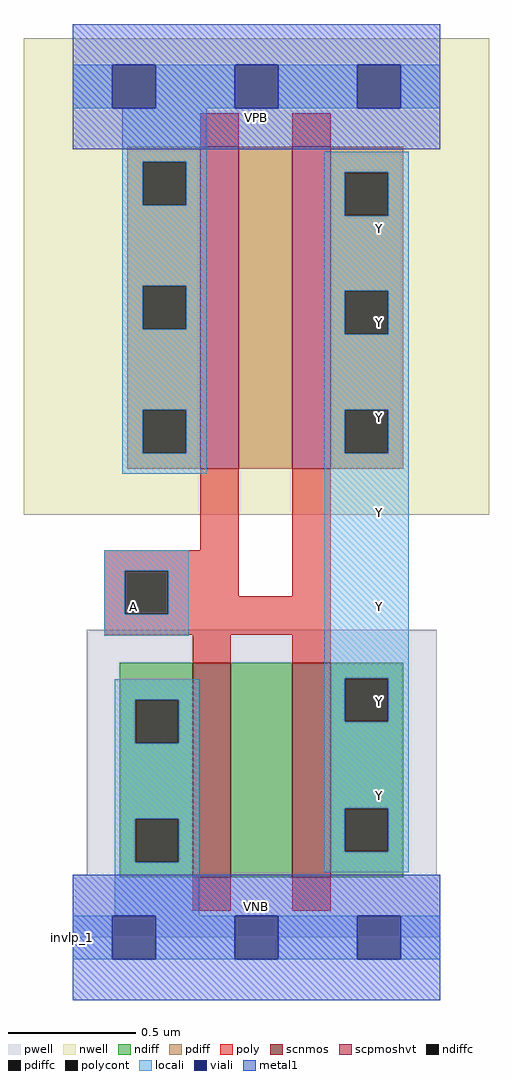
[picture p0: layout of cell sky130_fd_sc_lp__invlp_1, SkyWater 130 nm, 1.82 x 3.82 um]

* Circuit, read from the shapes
.subckt sky130_fd_sc_lp__invlp_1 A VGND VNB VPB VPWR Y
XM1 n1 A VGND VNB sky130_fd_pr__nfet_01v8 w=0.84 l=0.15
XM2 Y A n1 VNB sky130_fd_pr__nfet_01v8 w=0.84 l=0.15
XM3 n2 A VPWR VPB sky130_fd_pr__pfet_01v8_hvt w=1.26 l=0.15
XM4 Y A n2 VPB sky130_fd_pr__pfet_01v8_hvt w=1.26 l=0.15
.ends

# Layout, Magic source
magic
tech sky130A
magscale 1 2
<< nwell >>
rect -38 331 326 704
<< pwell >>
rect 11 49 285 241
rect 0 0 288 49
<< scnmos >>
rect 94 47 124 215
rect 172 47 202 215
<< scpmoshvt >>
rect 100 367 130 619
rect 172 367 202 619
<< ndiff >>
rect 37 186 94 215
rect 37 152 49 186
rect 83 152 94 186
rect 37 93 94 152
rect 37 59 49 93
rect 83 59 94 93
rect 37 47 94 59
rect 124 47 172 215
rect 202 203 259 215
rect 202 169 213 203
rect 247 169 259 203
rect 202 101 259 169
rect 202 67 213 101
rect 247 67 259 101
rect 202 47 259 67
<< pdiff >>
rect 43 607 100 619
rect 43 573 55 607
rect 89 573 100 607
rect 43 510 100 573
rect 43 476 55 510
rect 89 476 100 510
rect 43 413 100 476
rect 43 379 55 413
rect 89 379 100 413
rect 43 367 100 379
rect 130 367 172 619
rect 202 599 259 619
rect 202 565 213 599
rect 247 565 259 599
rect 202 506 259 565
rect 202 472 213 506
rect 247 472 259 506
rect 202 413 259 472
rect 202 379 213 413
rect 247 379 259 413
rect 202 367 259 379
<< ndiffc >>
rect 49 152 83 186
rect 49 59 83 93
rect 213 169 247 203
rect 213 67 247 101
<< pdiffc >>
rect 55 573 89 607
rect 55 476 89 510
rect 55 379 89 413
rect 213 565 247 599
rect 213 472 247 506
rect 213 379 247 413
<< poly >>
rect 100 619 130 645
rect 172 619 202 645
rect 100 303 130 367
rect 25 287 130 303
rect 25 253 41 287
rect 75 267 130 287
rect 172 267 202 367
rect 75 253 202 267
rect 25 237 202 253
rect 94 215 124 237
rect 172 215 202 237
rect 94 21 124 47
rect 172 21 202 47
<< polycont >>
rect 41 253 75 287
<< locali >>
rect 0 649 31 683
rect 65 649 127 683
rect 161 649 223 683
rect 257 649 288 683
rect 39 607 105 649
rect 39 573 55 607
rect 89 573 105 607
rect 39 510 105 573
rect 39 476 55 510
rect 89 476 105 510
rect 39 413 105 476
rect 39 379 55 413
rect 89 379 105 413
rect 39 363 105 379
rect 197 599 263 615
rect 197 565 213 599
rect 247 565 263 599
rect 197 506 263 565
rect 197 472 213 506
rect 247 472 263 506
rect 197 413 263 472
rect 197 379 213 413
rect 247 379 263 413
rect 25 287 91 303
rect 25 253 41 287
rect 75 253 91 287
rect 25 236 91 253
rect 197 203 263 379
rect 33 186 99 202
rect 33 152 49 186
rect 83 152 99 186
rect 33 93 99 152
rect 33 59 49 93
rect 83 59 99 93
rect 33 17 99 59
rect 197 169 213 203
rect 247 169 263 203
rect 197 101 263 169
rect 197 67 213 101
rect 247 67 263 101
rect 197 51 263 67
rect 0 -17 31 17
rect 65 -17 127 17
rect 161 -17 223 17
rect 257 -17 288 17
<< viali >>
rect 31 649 65 683
rect 127 649 161 683
rect 223 649 257 683
rect 31 -17 65 17
rect 127 -17 161 17
rect 223 -17 257 17
<< metal1 >>
rect 0 683 288 715
rect 0 649 31 683
rect 65 649 127 683
rect 161 649 223 683
rect 257 649 288 683
rect 0 617 288 649
rect 0 17 288 49
rect 0 -17 31 17
rect 65 -17 127 17
rect 161 -17 223 17
rect 257 -17 288 17
rect 0 -49 288 -17
<< labels >>
flabel pwell s 0 0 288 49 0 FreeSans 200 0 0 0 VNB
port 3 nsew ground bidirectional
flabel nwell s 0 617 288 666 0 FreeSans 200 0 0 0 VPB
port 4 nsew power bidirectional
rlabel comment s 0 0 0 0 4 invlp_1
flabel metal1 s 0 617 288 666 0 FreeSans 340 0 0 0 VPWR
port 5 nsew power bidirectional
flabel metal1 s 0 0 288 49 0 FreeSans 340 0 0 0 VGND
port 2 nsew ground bidirectional
flabel locali s 31 242 65 276 0 FreeSans 340 0 0 0 A
port 1 nsew signal input
flabel locali s 223 94 257 128 0 FreeSans 340 0 0 0 Y
port 6 nsew signal output
flabel locali s 223 168 257 202 0 FreeSans 340 0 0 0 Y
port 6 nsew signal output
flabel locali s 223 242 257 276 0 FreeSans 340 0 0 0 Y
port 6 nsew signal output
flabel locali s 223 316 257 350 0 FreeSans 340 0 0 0 Y
port 6 nsew signal output
flabel locali s 223 390 257 424 0 FreeSans 340 0 0 0 Y
port 6 nsew signal output
flabel locali s 223 464 257 498 0 FreeSans 340 0 0 0 Y
port 6 nsew signal output
flabel locali s 223 538 257 572 0 FreeSans 340 0 0 0 Y
port 6 nsew signal output
<< properties >>
string LEFsite unit
string LEFclass CORE
string FIXED_BBOX 0 0 288 666
string GDS_FILE $PDKPATH/libs.ref/sky130_fd_sc_lp/gds/sky130_fd_sc_lp.gds
string LEFsymmetry X Y R90
string GDS_END 6849590
string GDS_START 6845704
<< end >>
